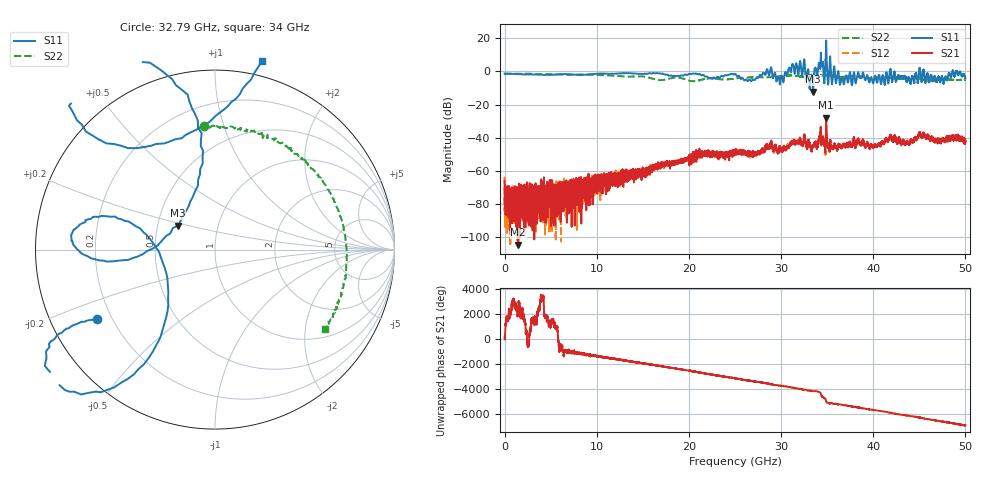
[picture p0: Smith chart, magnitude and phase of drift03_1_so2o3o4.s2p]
!Created with skrf (http://scikit-rf.org).
# Hz S RI R 50.0
!freq ReS11 ImS11 ReS21 ImS21 ReS12 ImS12 ReS22 ImS22
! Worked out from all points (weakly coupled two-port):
!   10001 points, 300 kHz to 50 GHz, reference 50 ohm
!   highest |S21| = -27.82 dB at 34.89 GHz (marker M1); lowest = -104.4 dB at 1.485 GHz (marker M2)
!   lowest |S11| = -12.2 dB at 33.47 GHz (marker M3), VSWR 1.65, Z = 31.9 + j9.09 ohm
!   |S11| at or under -10 dB: 33.07864 GHz to 33.10674 GHz (28.1 MHz wide, 0.0849 % of centre); 33.44078 GHz to 33.49517 GHz (54.39 MHz wide, 0.163 % of centre)
!   |S22| runs from -6.0 to -1.3 dB; largest |S21 - S12| = 0.0086
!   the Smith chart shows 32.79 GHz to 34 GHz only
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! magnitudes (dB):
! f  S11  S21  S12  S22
! 300 kHz  -1.3  -65.9  -63.4  -2.1
! 255.3 MHz  -1.3  -75.5  -72.3  -1.4
! 1.485 GHz  -1.7  -104.4  -93.4  -1.4
! 8.335 GHz  -2.2  -74.3  -67.8  -1.9
! 16.67 GHz  -1.1  -57.1  -56.6  -5.2
! 25 GHz  -1.6  -49.3  -49.7  -4.2
! 26.59 GHz  -5.0  -49.4  -49.5  -3.6
! 28.73 GHz  -2.3  -46.2  -45.7  -3.5
! 30.06 GHz  -2.5  -47.7  -47.3  -2.9
! 31.88 GHz  -1.9  -43.0  -42.4  -2.9
! 33.34 GHz  -2.2  -48.0  -47.3  -2.9
! 33.47 GHz  -12.2  -44.8  -45.3  -2.8
! 34.3 GHz  7.3  -33.7  -34.5  -2.3
! 34.89 GHz  18.6  -27.8  -29.9  -2.5
! 36.6 GHz  -3.5  -45.7  -45.8  -3.6
! 40.16 GHz  -3.1  -44.6  -44.3  -3.7
! 41.67 GHz  -6.3  -41.5  -40.9  -3.7
! 43.65 GHz  -6.2  -42.9  -42.0  -4.0
! 45.21 GHz  -5.1  -39.5  -38.9  -4.5
! 47.07 GHz  -3.3  -41.8  -41.9  -5.1
! 48.83 GHz  -3.0  -40.4  -40.1  -5.1
! 50 GHz  -4.3  -41.7  -43.1  -5.0
